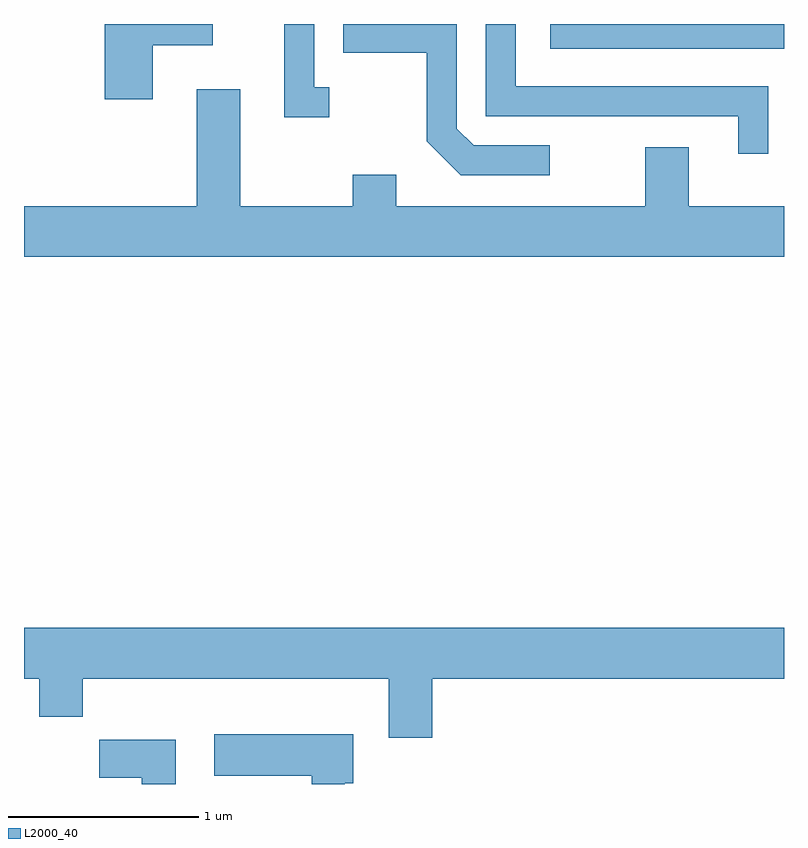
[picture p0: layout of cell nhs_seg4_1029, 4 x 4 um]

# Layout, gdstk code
import gdstk
lib = gdstk.Library(unit=1e-6, precision=1e-09)
def R(c, l, rs):  # rectangles x0, y0, x1, y1
    for r in rs: c.add(gdstk.rectangle(r[:2], r[2:], *l))
def P(c, l, *ps):  # polygons
    for p in ps: c.add(gdstk.Polygon(p, *l))
L2000_40 = (2000, 40)

nhs_seg4_1029 = lib.new_cell('nhs_seg4_1029')
R(nhs_seg4_1029, L2000_40, [(218.381,1275.851,219.611,1275.982)])
P(nhs_seg4_1029, L2000_40, [(218.378,1275.344),(217.977,1275.344),(217.889,1275.432),(217.889,1275.982),(217.291,1275.982),(217.291,1275.831),(217.731,1275.831),(217.731,1275.364),(217.909,1275.186),(218.378,1275.186)],
  [(217.218,1275.649),(217.139,1275.649),(217.139,1275.982),(216.981,1275.982),(216.981,1275.491),(217.218,1275.491)],
  [(216.289,1275.871),(216.604,1275.871),(216.604,1275.982),(216.036,1275.982),(216.036,1275.586),(216.289,1275.586)],
  [(219.529,1275.654),(218.199,1275.654),(218.199,1275.982),(218.041,1275.982),(218.041,1275.496),(219.371,1275.496),(219.371,1275.298),(219.529,1275.298)],
  [(219.611,1275.024),(219.109,1275.024),(219.109,1275.334),(218.881,1275.334),(218.881,1275.024),(217.569,1275.024),(217.569,1275.189),(217.341,1275.189),(217.341,1275.024),(216.749,1275.024),(216.749,1275.639),(216.521,1275.639),(216.521,1275.024),(215.611,1275.024),(215.611,1274.756),(219.611,1274.756)],
  [(217.759,1272.536),(219.611,1272.536),(219.611,1272.804),(215.611,1272.804),(215.611,1272.536),(215.691,1272.536),(215.691,1272.336),(215.919,1272.336),(215.919,1272.536),(217.531,1272.536),(217.531,1272.226),(217.759,1272.226)],
  [(217.299,1271.986),(217.344,1271.986),(217.344,1272.244),(216.611,1272.244),(216.611,1272.026),(217.126,1272.026),(217.126,1271.982),(217.299,1271.982)],
  [(216.409,1272.214),(216.006,1272.214),(216.006,1272.016),(216.231,1272.016),(216.231,1271.982),(216.409,1271.982)])

lib.write_gds('nhs_seg4_1029.gds')
